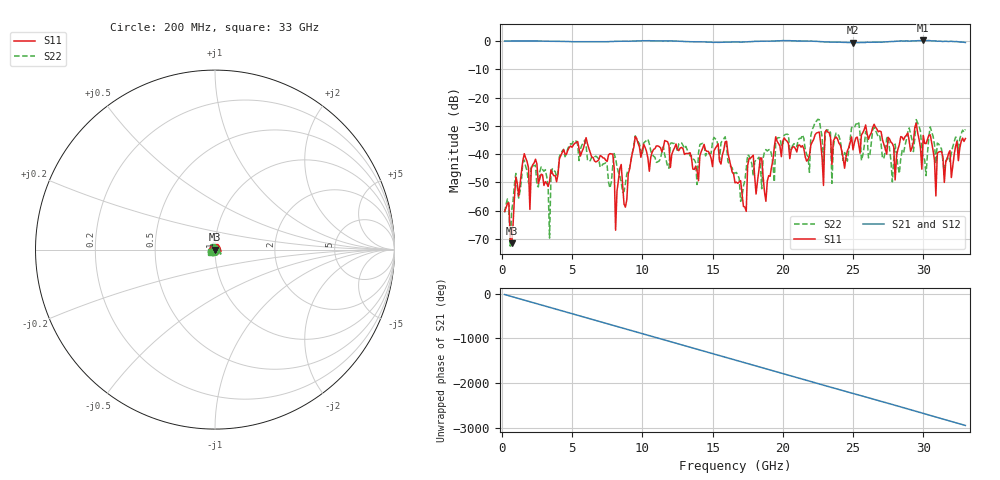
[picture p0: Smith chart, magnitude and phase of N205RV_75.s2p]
# GHZ S RI R 50
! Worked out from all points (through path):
!   329 points, 200 MHz to 33 GHz, reference 50 ohm
!   highest |S21| = 0.20 dB at 30 GHz (marker M1); lowest = -0.6 dB at 25 GHz (marker M2)
!   group delay of S21, straight-line fit = 248 ps
!   lowest |S11| = -71.6 dB at 700 MHz (marker M3), VSWR 1.00, Z = 50 - j0.00773 ohm
!   |S11| at or under -10 dB: start of sweep to end of sweep
!   |S22| runs from -72.6 to -27.7 dB; largest |S21 - S12| = 0.0019
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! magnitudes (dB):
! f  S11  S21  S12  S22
! 200 MHz  -60.3  0.0  0.0  -60.7
! 700 MHz  -71.6  0.0  0.0  -60.4
! 1.6 GHz  -39.9  0.0  0.0  -42.1
! 2 GHz  -59.6  0.0  0.0  -50.6
! 3.1 GHz  -49.8  -0.1  -0.1  -45.5
! 3.4 GHz  -49.6  -0.1  -0.1  -69.7
! 3.6 GHz  -46.8  -0.1  -0.1  -45.2
! 5.7 GHz  -39.2  -0.3  -0.3  -36.8
! 7.9 GHz  -40.0  -0.2  -0.2  -44.2
! 8.1 GHz  -67.0  -0.1  -0.1  -41.6
! 9.5 GHz  -33.8  0.0  0.0  -33.6
! 11.2 GHz  -37.3  0.0  0.0  -42.4
! 16.6 GHz  -50.2  -0.4  -0.4  -46.7
! 22.1 GHz  -35.7  -0.1  -0.1  -31.2
! 22.9 GHz  -51.1  -0.3  -0.3  -43.7
! 23.4 GHz  -34.2  -0.4  -0.4  -32.4
! 23.5 GHz  -43.7  -0.4  -0.4  -50.4
! 25 GHz  -38.5  -0.6  -0.6  -30.4
! 27.6 GHz  -34.7  -0.2  -0.2  -38.2
! 30 GHz  -33.4  0.2  0.2  -40.9
! 30.9 GHz  -54.8  0.0  0.0  -43.3
! 33 GHz  -34.5  -0.5  -0.5  -31.3
